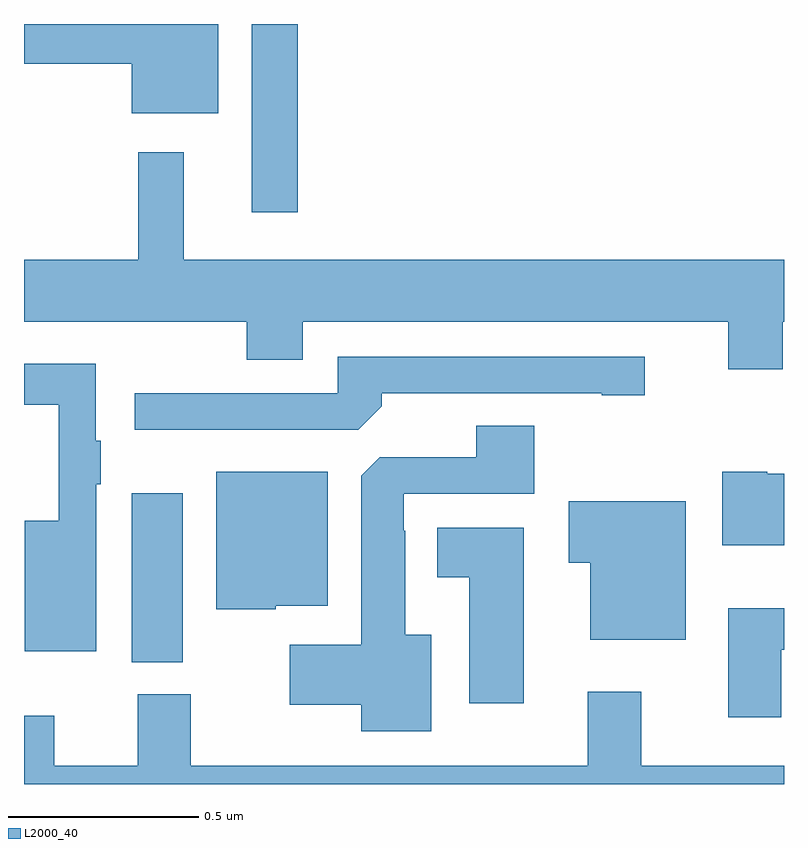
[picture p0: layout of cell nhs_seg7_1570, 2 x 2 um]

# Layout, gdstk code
import gdstk
lib = gdstk.Library(unit=1e-6, precision=1e-09)
def R(c, l, rs):  # rectangles x0, y0, x1, y1
    for r in rs: c.add(gdstk.rectangle(r[:2], r[2:], *l))
def P(c, l, *ps):  # polygons
    for p in ps: c.add(gdstk.Polygon(p, *l))
L2000_40 = (2000, 40)

nhs_seg7_1570 = lib.new_cell('nhs_seg7_1570')
R(nhs_seg7_1570, L2000_40, [(132.284,1066.321,132.418,1066.765), (132.599,1067.505,132.721,1068)])
P(nhs_seg7_1570, L2000_40, [(132.511,1068),(132,1068),(132,1067.896),(132.284,1067.896),(132.284,1067.765),(132.511,1067.765)],
  [(133.997,1067.216),(134,1067.216),(134,1067.38),(132.421,1067.38),(132.421,1067.662),(132.3,1067.662),(132.3,1067.38),(132,1067.38),(132,1067.216),(132.586,1067.216),(132.586,1067.117),(132.733,1067.117),(132.733,1067.216),(133.853,1067.216),(133.853,1067.092),(133.997,1067.092)],
  [(132.941,1066.994),(132.941,1067.028),(133.52,1067.028),(133.52,1067.023),(133.633,1067.023),(133.633,1067.124),(132.825,1067.124),(132.825,1067.028),(132.291,1067.028),(132.291,1066.932),(132.879,1066.932)],
  [(132.19,1066.789),(132.202,1066.789),(132.202,1066.903),(132.189,1066.903),(132.189,1067.106),(132,1067.106),(132,1066.998),(132.092,1066.998),(132.092,1066.693),(132.002,1066.693),(132.002,1066.349),(132.19,1066.349)],
  [(133.072,1066.393),(133.003,1066.393),(133.003,1066.667),(132.999,1066.667),(132.999,1066.764),(133.343,1066.764),(133.343,1066.943),(133.19,1066.943),(133.19,1066.86),(132.936,1066.86),(132.887,1066.811),(132.887,1066.366),(132.699,1066.366),(132.699,1066.208),(132.887,1066.208),(132.887,1066.139),(133.072,1066.139)],
  [(132.663,1066.469),(132.799,1066.469),(132.799,1066.822),(132.506,1066.822),(132.506,1066.46),(132.663,1066.46)],
  [(134,1066.816),(133.956,1066.816),(133.956,1066.822),(133.838,1066.822),(133.838,1066.628),(134,1066.628)],
  [(133.741,1066.744),(133.434,1066.744),(133.434,1066.582),(133.49,1066.582),(133.49,1066.379),(133.741,1066.379)],
  [(133.315,1066.675),(133.088,1066.675),(133.088,1066.544),(133.172,1066.544),(133.172,1066.212),(133.315,1066.212)],
  [(133.993,1066.353),(134,1066.353),(134,1066.462),(133.853,1066.462),(133.853,1066.176),(133.993,1066.176)],
  [(134,1066.048),(133.624,1066.048),(133.624,1066.243),(133.484,1066.243),(133.484,1066.048),(132.439,1066.048),(132.439,1066.236),(132.299,1066.236),(132.299,1066.048),(132.079,1066.048),(132.079,1066.18),(132,1066.18),(132,1066),(134,1066)])

lib.write_gds('nhs_seg7_1570.gds')
